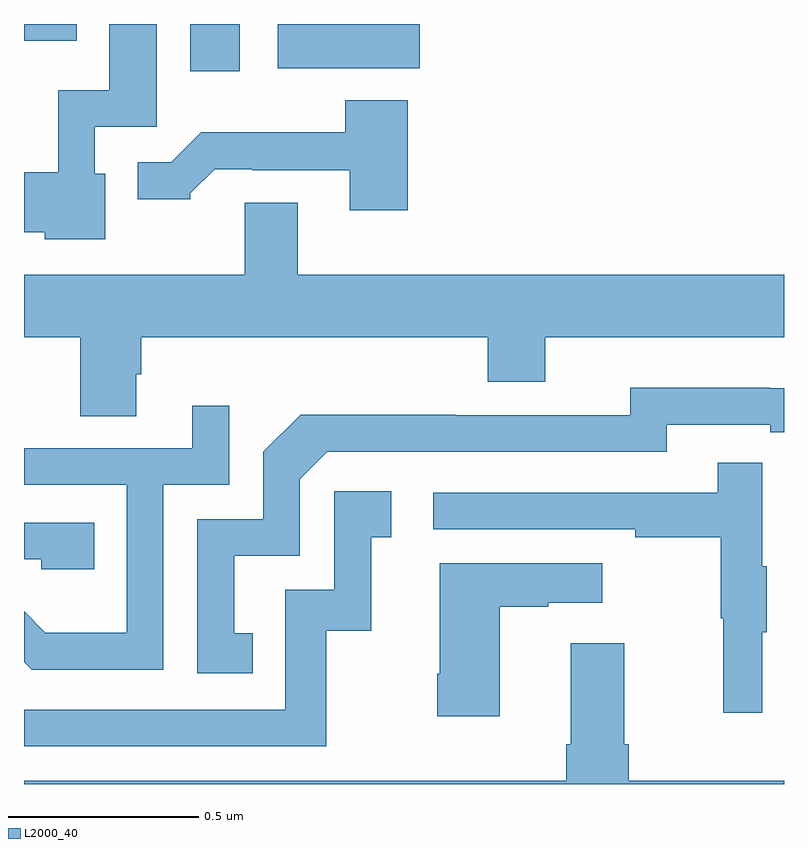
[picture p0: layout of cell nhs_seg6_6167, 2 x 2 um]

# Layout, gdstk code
import gdstk
lib = gdstk.Library(unit=1e-6, precision=1e-09)
def R(c, l, rs):  # rectangles x0, y0, x1, y1
    for r in rs: c.add(gdstk.rectangle(r[:2], r[2:], *l))
def P(c, l, *ps):  # polygons
    for p in ps: c.add(gdstk.Polygon(p, *l))
L2000_40 = (2000, 40)

nhs_seg6_6167 = lib.new_cell('nhs_seg6_6167')
R(nhs_seg6_6167, L2000_40, [(192.437,941.376,192.568,941.5), (192.668,941.384,193.042,941.5), (192,941.456,192.139,941.5)])
P(nhs_seg6_6167, L2000_40, [(192.214,941.106),(192.186,941.106),(192.186,941.229),(192.349,941.229),(192.349,941.5),(192.224,941.5),(192.224,941.326),(192.09,941.326),(192.09,941.11),(192,941.11),(192,940.952),(192.054,940.952),(192.054,940.934),(192.214,940.934)],
  [(193.01,941.299),(192.845,941.299),(192.845,941.215),(192.466,941.215),(192.387,941.136),(192.299,941.136),(192.299,941.039),(192.438,941.039),(192.438,941.054),(192.502,941.118),(192.601,941.118),(192.601,941.115),(192.857,941.115),(192.857,941.01),(193.01,941.01)],
  [(192.295,940.578),(192.308,940.578),(192.308,940.676),(193.22,940.676),(193.22,940.559),(193.372,940.559),(193.372,940.676),(194,940.676),(194,940.84),(192.721,940.84),(192.721,941.03),(192.581,941.03),(192.581,940.84),(192,940.84),(192,940.676),(192.148,940.676),(192.148,940.468),(192.295,940.468)],
  [(192.602,939.897),(192.553,939.897),(192.553,940.101),(192.726,940.101),(192.726,940.302),(192.798,940.374),(193.692,940.374),(193.692,940.446),(193.964,940.446),(193.964,940.426),(194,940.426),(194,940.542),(193.964,940.542),(193.964,940.543),(193.596,940.543),(193.596,940.47),(193.136,940.47),(193.136,940.472),(192.728,940.472),(192.63,940.374),(192.63,940.197),(192.456,940.197),(192.456,939.792),(192.602,939.792)],
  [(192.366,940.287),(192.54,940.287),(192.54,940.495),(192.443,940.495),(192.443,940.383),(192,940.383),(192,940.287),(192.27,940.287),(192.27,939.898),(192.056,939.898),(192,939.954),(192,939.821),(192.02,939.801),(192.366,939.801)],
  [(193.943,939.899),(193.954,939.899),(193.954,940.073),(193.943,940.073),(193.943,940.345),(193.825,940.345),(193.825,940.266),(193.077,940.266),(193.077,940.17),(193.609,940.17),(193.609,940.15),(193.833,940.15),(193.833,939.936),(193.84,939.936),(193.84,939.687),(193.943,939.687)],
  [(192.796,939.903),(192.914,939.903),(192.914,940.149),(192.967,940.149),(192.967,940.27),(192.816,940.27),(192.816,940.011),(192.687,940.011),(192.687,939.696),(192,939.696),(192,939.6),(192.796,939.6)],
  [(192.185,940.188),(192,940.188),(192,940.092),(192.045,940.092),(192.045,940.065),(192.185,940.065)],
  [(193.252,939.967),(193.379,939.967),(193.379,939.977),(193.522,939.977),(193.522,940.081),(193.094,940.081),(193.094,939.79),(193.087,939.79),(193.087,939.678),(193.252,939.678)],
  [(194,939.508),(193.592,939.508),(193.592,939.604),(193.579,939.604),(193.579,939.871),(193.439,939.871),(193.439,939.604),(193.427,939.604),(193.427,939.508),(192,939.508),(192,939.5),(194,939.5)])

lib.write_gds('nhs_seg6_6167.gds')
